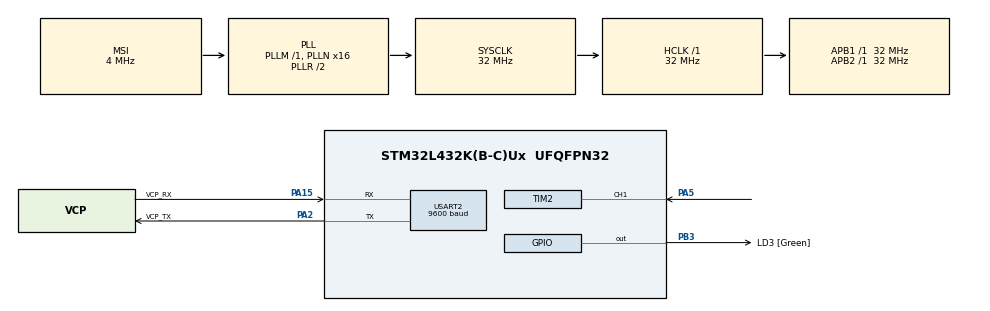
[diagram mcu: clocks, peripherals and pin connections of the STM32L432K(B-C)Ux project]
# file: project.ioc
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ADC1.Channel-1\#ChannelRegularConversion=ADC_CHANNEL_VREFINT
ADC1.Channel-2\#ChannelRegularConversion=ADC_CHANNEL_TEMPSENSOR
ADC1.Channel-3\#ChannelRegularConversion=ADC_CHANNEL_VBAT
ADC1.ClockPrescaler=ADC_CLOCK_ASYNC_DIV4
ADC1.ContinuousConvMode=ENABLE
ADC1.EOCSelection=ADC_EOC_SEQ_CONV
ADC1.NbrOfConversion=3
ADC1.NbrOfConversionFlag=1
ADC1.OffsetNumber-1\#ChannelRegularConversion=ADC_OFFSET_NONE
ADC1.OffsetNumber-2\#ChannelRegularConversion=ADC_OFFSET_NONE
ADC1.OffsetNumber-3\#ChannelRegularConversion=ADC_OFFSET_NONE
ADC1.Rank-1\#ChannelRegularConversion=1
ADC1.Rank-2\#ChannelRegularConversion=2
ADC1.Rank-3\#ChannelRegularConversion=3
ADC1.SamplingTime-1\#ChannelRegularConversion=ADC_SAMPLETIME_2CYCLES_5
ADC1.SamplingTime-2\#ChannelRegularConversion=ADC_SAMPLETIME_247CYCLES_5
ADC1.SamplingTime-3\#ChannelRegularConversion=ADC_SAMPLETIME_2CYCLES_5
ADC1.master=1
Dma.Request0=TIM2_CH1
Dma.TIM2_CH1.0.Direction=DMA_PERIPH_TO_MEMORY
Dma.TIM2_CH1.0.Instance=DMA1_Channel5
Dma.TIM2_CH1.0.MemDataAlignment=DMA_MDATAALIGN_WORD
Dma.TIM2_CH1.0.MemInc=DMA_MINC_ENABLE
Dma.TIM2_CH1.0.Mode=DMA_NORMAL
Dma.TIM2_CH1.0.PeriphDataAlignment=DMA_PDATAALIGN_WORD
Dma.TIM2_CH1.0.PeriphInc=DMA_PINC_DISABLE
Dma.TIM2_CH1.0.Priority=DMA_PRIORITY_LOW
Mcu.Family=STM32L4
Mcu.Name=STM32L432K(B-C)Ux
Mcu.Package=UFQFPN32
NVIC.DMA1_Channel5_IRQn=true\:0\:0\:false\:false\:true\:false\:true
NVIC.PriorityGroup=NVIC_PRIORITYGROUP_4
NVIC.RTC_Alarm_IRQn=true\:0\:0\:false\:false\:true\:true\:true
NVIC.USART2_IRQn=true\:0\:0\:false\:false\:true\:true\:true
PA0.GPIO_Label=MCO [High speed clock in]
PA0.Mode=HSE-External-Clock-Source-for-LittleOrca
PA0.Signal=RCC_CK_IN
PA13\ (JTMS-SWDIO).GPIO_Label=SWDIO
PA13\ (JTMS-SWDIO).Mode=Serial_Wire
PA13\ (JTMS-SWDIO).Signal=SYS_JTMS-SWDIO
PA14\ (JTCK-SWCLK).GPIO_Label=SWCLK
PA14\ (JTCK-SWCLK).Mode=Serial_Wire
PA14\ (JTCK-SWCLK).Signal=SYS_JTCK-SWCLK
PA15\ (JTDI).GPIO_Label=VCP_RX
PA15\ (JTDI).Mode=Asynchronous
PA15\ (JTDI).Signal=USART2_RX
PA2.GPIO_Label=VCP_TX
PA2.Mode=Asynchronous
PA2.Signal=USART2_TX
PA5.Signal=S_TIM2_CH1
PB3\ (JTDO-TRACESWO).GPIO_Label=LD3 [Green]
PB3\ (JTDO-TRACESWO).Signal=GPIO_Output
PC14-OSC32_IN\ (PC14).Mode=LSE-External-Oscillator
PC14-OSC32_IN\ (PC14).Signal=RCC_OSC32_IN
PC15-OSC32_OUT\ (PC15).Mode=LSE-External-Oscillator
PC15-OSC32_OUT\ (PC15).Signal=RCC_OSC32_OUT
ProjectManager.HeapSize=0x200
ProjectManager.StackSize=0x400
ProjectManager.TargetToolchain=Makefile
RCC.ADCFreq_Value=32000000
RCC.AHBFreq_Value=32000000
RCC.APB1Freq_Value=32000000
RCC.APB1TimFreq_Value=32000000
RCC.APB2Freq_Value=32000000
RCC.APB2TimFreq_Value=32000000
RCC.CortexFreq_Value=32000000
RCC.HCLKFreq_Value=32000000
RCC.HSE_VALUE=8000000
RCC.HSI16_VALUE=16000000
RCC.HSI48_VALUE=48000000
RCC.HSI_VALUE=16000000
RCC.MSI_VALUE=4000000
RCC.PLLMUL=RCC_PLLMUL_4
RCC.PLLN=16
RCC.PLLSAI1N=16
RCC.SYSCLKFreq_VALUE=32000000
RCC.SYSCLKSource=RCC_SYSCLKSOURCE_PLLCLK
RCC.USBFreq_Value=32000000
RCC.VCOOutputFreq_Value=64000000
RTC.Alarm=RTC_ALARM_A
RTC.AlarmMaskDateWeekDay=RTC_ALARMMASK_DATEWEEKDAY
RTC.AlarmMaskHours=RTC_ALARMMASK_HOURS
RTC.AlarmMaskMinutes=RTC_ALARMMASK_MINUTES
RTC.Seconds_A=30
SH.S_TIM2_CH1.0=TIM2_CH1,Input_Capture1_from_TI1
TIM2.Channel-Input_Capture1_from_TI1=TIM_CHANNEL_1
TIM2.Period=65535
USART2.BaudRate=9600
USART2.VirtualMode-Asynchronous=VM_ASYNC
VP_ADC1_TempSens_Input.Mode=IN-TempSens
VP_ADC1_Vbat_Input.Mode=IN-Vbat
VP_ADC1_Vref_Input.Mode=IN-Vrefint
VP_RTC_VS_RTC_Activate.Mode=RTC_Enabled
VP_RTC_VS_RTC_Alarm_A_Intern.Mode=Alarm A
VP_RTC_VS_RTC_Calendar.Mode=RTC_Calendar
board=NUCLEO-L432KC

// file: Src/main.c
/* USER CODE BEGIN Header */
/**
  ******************************************************************************
  * @file           : main.c
  * @brief          : Main program body
  ******************************************************************************
  * @attention
  *
  * <h2><center>&copy; Copyright (c) 2020 STMicroelectronics.
  * All rights reserved.</center></h2>
  *
  * This software component is licensed by ST under BSD 3-Clause license,
  * the "License"; You may not use this file except in compliance with the
  * License. You may obtain a copy of the License at:
  *                        opensource.org/licenses/BSD-3-Clause
  *
  ******************************************************************************
  */
/* USER CODE END Header */

#include "main.h"

/* USER CODE BEGIN Includes */
#include <stdio.h>
#include "retarget.h"
#include <string.h>
#include <stdlib.h>
#include "stm32l4xx_ll_usart.h"
#include "command.h"
#include "buffer.h"
#include "rtc.h"
#include "sensor.h"
#include "log.h"
/* USER CODE END Includes */

ADC_HandleTypeDef hadc1;
RTC_HandleTypeDef hrtc;
TIM_HandleTypeDef htim2;
DMA_HandleTypeDef hdma_tim2_ch1;
UART_HandleTypeDef huart2;

void SystemClock_Config(void);
static void MX_GPIO_Init(void);
static void MX_USART2_UART_Init(void);
static void MX_RTC_Init(void);
static void MX_ADC1_Init(void);
static void MX_DMA_Init(void);
static void MX_TIM2_Init(void);

int main(void)
{

  /* MCU Configuration--------------------------------------------------------*/

  /* Reset of all peripherals, Initializes the Flash interface and the Systick. */
  HAL_Init();

  /* Configure the system clock */
  SystemClock_Config();

  /* Initialize all configured peripherals */
  MX_GPIO_Init();
  MX_USART2_UART_Init();
  MX_RTC_Init();
  MX_ADC1_Init();
  MX_DMA_Init();
  MX_TIM2_Init();
  /* USER CODE BEGIN 2 */
  RetargetInit(&huart2);
  //sends local RTC handler variable to rtc.c file scope
  RetargetRTC(&hrtc);

  // if necessary to erase flash, uncomment
  //flash_erase();

  if(flash_write_init()) {
    printf("Flash initialization failed\r\n");
    while(1);
  }
  //calibrates ADC
  while (HAL_ADCEx_Calibration_Start(&hadc1,ADC_SINGLE_ENDED) != HAL_OK);

  log_entry("start");
  printf("Welcome to Nucleo\r\n");
  printf("Type 'help' to see available commands\r\n");

  HAL_GPIO_WritePin(LD3_GPIO_Port, LD3_Pin, GPIO_PIN_RESET);

  terminal_line();
  /* USER CODE END 2 */

  /* Infinite loop */
  while (1)
  {

    /* USER CODE BEGIN 3 */
    buf_process();
    alarm_process();
  }
  /* USER CODE END 3 */
}

void SystemClock_Config(void)
{
  RCC_OscInitTypeDef RCC_OscInitStruct = {0};
  RCC_ClkInitTypeDef RCC_ClkInitStruct = {0};
  RCC_PeriphCLKInitTypeDef PeriphClkInit = {0};

  /** Configure LSE Drive Capability
  */
  HAL_PWR_EnableBkUpAccess();
  __HAL_RCC_LSEDRIVE_CONFIG(RCC_LSEDRIVE_LOW);
  /** Initializes the CPU, AHB and APB busses clocks
  */
  RCC_OscInitStruct.OscillatorType = RCC_OSCILLATORTYPE_LSI|RCC_OSCILLATORTYPE_LSE
                              |RCC_OSCILLATORTYPE_MSI;
  RCC_OscInitStruct.LSEState = RCC_LSE_ON;
  RCC_OscInitStruct.LSIState = RCC_LSI_ON;
  RCC_OscInitStruct.MSIState = RCC_MSI_ON;
  RCC_OscInitStruct.MSICalibrationValue = 0;
  RCC_OscInitStruct.MSIClockRange = RCC_MSIRANGE_6;
  RCC_OscInitStruct.PLL.PLLState = RCC_PLL_ON;
  RCC_OscInitStruct.PLL.PLLSource = RCC_PLLSOURCE_MSI;
  RCC_OscInitStruct.PLL.PLLM = 1;
  RCC_OscInitStruct.PLL.PLLN = 16;
  RCC_OscInitStruct.PLL.PLLP = RCC_PLLP_DIV7;
  RCC_OscInitStruct.PLL.PLLQ = RCC_PLLQ_DIV2;
  RCC_OscInitStruct.PLL.PLLR = RCC_PLLR_DIV2;
  if (HAL_RCC_OscConfig(&RCC_OscInitStruct) != HAL_OK)
  {
    Error_Handler();
  }
  /** Initializes the CPU, AHB and APB busses clocks
  */
  RCC_ClkInitStruct.ClockType = RCC_CLOCKTYPE_HCLK|RCC_CLOCKTYPE_SYSCLK
                              |RCC_CLOCKTYPE_PCLK1|RCC_CLOCKTYPE_PCLK2;
  RCC_ClkInitStruct.SYSCLKSource = RCC_SYSCLKSOURCE_PLLCLK;
  RCC_ClkInitStruct.AHBCLKDivider = RCC_SYSCLK_DIV1;
  RCC_ClkInitStruct.APB1CLKDivider = RCC_HCLK_DIV1;
  RCC_ClkInitStruct.APB2CLKDivider = RCC_HCLK_DIV1;

  if (HAL_RCC_ClockConfig(&RCC_ClkInitStruct, FLASH_LATENCY_1) != HAL_OK)
  {
    Error_Handler();
  }
  PeriphClkInit.PeriphClockSelection = RCC_PERIPHCLK_RTC|RCC_PERIPHCLK_USART2
                              |RCC_PERIPHCLK_ADC;
  PeriphClkInit.Usart2ClockSelection = RCC_USART2CLKSOURCE_PCLK1;
  PeriphClkInit.AdcClockSelection = RCC_ADCCLKSOURCE_PLLSAI1;
  PeriphClkInit.RTCClockSelection = RCC_RTCCLKSOURCE_LSI;
  PeriphClkInit.PLLSAI1.PLLSAI1Source = RCC_PLLSOURCE_MSI;
  PeriphClkInit.PLLSAI1.PLLSAI1M = 1;
  PeriphClkInit.PLLSAI1.PLLSAI1N = 16;
  PeriphClkInit.PLLSAI1.PLLSAI1P = RCC_PLLP_DIV7;
  PeriphClkInit.PLLSAI1.PLLSAI1Q = RCC_PLLQ_DIV2;
  PeriphClkInit.PLLSAI1.PLLSAI1R = RCC_PLLR_DIV2;
  PeriphClkInit.PLLSAI1.PLLSAI1ClockOut = RCC_PLLSAI1_ADC1CLK;
  if (HAL_RCCEx_PeriphCLKConfig(&PeriphClkInit) != HAL_OK)
  {
    Error_Handler();
  }
  /** Configure the main internal regulator output voltage
  */
  if (HAL_PWREx_ControlVoltageScaling(PWR_REGULATOR_VOLTAGE_SCALE1) != HAL_OK)
  {
    Error_Handler();
  }
  /** Enable MSI Auto calibration
  */
  HAL_RCCEx_EnableMSIPLLMode();
}

static void MX_ADC1_Init(void)
{

  ADC_ChannelConfTypeDef sConfig = {0};

  /** Common config
  */
  hadc1.Instance = ADC1;
  hadc1.Init.ClockPrescaler = ADC_CLOCK_ASYNC_DIV4;
  hadc1.Init.Resolution = ADC_RESOLUTION_12B;
  hadc1.Init.DataAlign = ADC_DATAALIGN_RIGHT;
  hadc1.Init.ScanConvMode = ADC_SCAN_ENABLE;
  hadc1.Init.EOCSelection = ADC_EOC_SEQ_CONV;
  hadc1.Init.LowPowerAutoWait = DISABLE;
  hadc1.Init.ContinuousConvMode = ENABLE;
  hadc1.Init.NbrOfConversion = 3;
  hadc1.Init.DiscontinuousConvMode = DISABLE;
  hadc1.Init.ExternalTrigConv = ADC_SOFTWARE_START;
  hadc1.Init.ExternalTrigConvEdge = ADC_EXTERNALTRIGCONVEDGE_NONE;
  hadc1.Init.DMAContinuousRequests = DISABLE;
  hadc1.Init.Overrun = ADC_OVR_DATA_PRESERVED;
  hadc1.Init.OversamplingMode = DISABLE;
  if (HAL_ADC_Init(&hadc1) != HAL_OK)
  {
    Error_Handler();
  }
  /** Configure Regular Channel
  */
  sConfig.Channel = ADC_CHANNEL_VREFINT;
  sConfig.Rank = ADC_REGULAR_RANK_1;
  sConfig.SamplingTime = ADC_SAMPLETIME_2CYCLES_5;
  sConfig.SingleDiff = ADC_SINGLE_ENDED;
  sConfig.OffsetNumber = ADC_OFFSET_NONE;
  sConfig.Offset = 0;
  if (HAL_ADC_ConfigChannel(&hadc1, &sConfig) != HAL_OK)
  {
    Error_Handler();
  }
  /** Configure Regular Channel
  */
  sConfig.Channel = ADC_CHANNEL_TEMPSENSOR;
  sConfig.Rank = ADC_REGULAR_RANK_2;
  sConfig.SamplingTime = ADC_SAMPLETIME_247CYCLES_5;
  if (HAL_ADC_ConfigChannel(&hadc1, &sConfig) != HAL_OK)
  {
    Error_Handler();
  }
  /** Configure Regular Channel
  */
  sConfig.Channel = ADC_CHANNEL_VBAT;
  sConfig.Rank = ADC_REGULAR_RANK_3;
  sConfig.SamplingTime = ADC_SAMPLETIME_2CYCLES_5;
  if (HAL_ADC_ConfigChannel(&hadc1, &sConfig) != HAL_OK)
  {
    Error_Handler();
  }

}

static void MX_RTC_Init(void)
{

  RTC_TimeTypeDef sTime = {0};
  RTC_DateTypeDef sDate = {0};
  RTC_AlarmTypeDef sAlarm = {0};

  /** Initialize RTC Only
  */
  hrtc.Instance = RTC;
  hrtc.Init.HourFormat = RTC_HOURFORMAT_24;
  hrtc.Init.AsynchPrediv = 127;
  hrtc.Init.SynchPrediv = 255;
  hrtc.Init.OutPut = RTC_OUTPUT_DISABLE;
  hrtc.Init.OutPutRemap = RTC_OUTPUT_REMAP_NONE;
  hrtc.Init.OutPutPolarity = RTC_OUTPUT_POLARITY_HIGH;
  hrtc.Init.OutPutType = RTC_OUTPUT_TYPE_OPENDRAIN;
  if (HAL_RTC_Init(&hrtc) != HAL_OK)
  {
    Error_Handler();
  }

  /** Initialize RTC and set the Time and Date
  */
  sTime.Hours = 0x0;
  sTime.Minutes = 0x0;
  sTime.Seconds = 0x0;
  sTime.DayLightSaving = RTC_DAYLIGHTSAVING_NONE;
  sTime.StoreOperation = RTC_STOREOPERATION_RESET;
  if (HAL_RTC_SetTime(&hrtc, &sTime, RTC_FORMAT_BCD) != HAL_OK)
  {
    Error_Handler();
  }
  sDate.WeekDay = RTC_WEEKDAY_MONDAY;
  sDate.Month = RTC_MONTH_JANUARY;
  sDate.Date = 0x1;
  sDate.Year = 0x0;

  if (HAL_RTC_SetDate(&hrtc, &sDate, RTC_FORMAT_BCD) != HAL_OK)
  {
    Error_Handler();
  }
  /** Enable the Alarm A
  */
  sAlarm.AlarmTime.Hours = 0x0;
  sAlarm.AlarmTime.Minutes = 0x0;
  sAlarm.AlarmTime.Seconds = 0x30;
  sAlarm.AlarmTime.SubSeconds = 0x0;
  sAlarm.AlarmTime.DayLightSaving = RTC_DAYLIGHTSAVING_NONE;
  sAlarm.AlarmTime.StoreOperation = RTC_STOREOPERATION_RESET;
  sAlarm.AlarmMask = RTC_ALARMMASK_DATEWEEKDAY|RTC_ALARMMASK_HOURS
                              |RTC_ALARMMASK_MINUTES;
  sAlarm.AlarmSubSecondMask = RTC_ALARMSUBSECONDMASK_ALL;
  sAlarm.AlarmDateWeekDaySel = RTC_ALARMDATEWEEKDAYSEL_DATE;
  sAlarm.AlarmDateWeekDay = 0x1;
  sAlarm.Alarm = RTC_ALARM_A;
  if (HAL_RTC_SetAlarm_IT(&hrtc, &sAlarm, RTC_FORMAT_BCD) != HAL_OK)
  {
    Error_Handler();
  }

}

static void MX_TIM2_Init(void)
{

  TIM_MasterConfigTypeDef sMasterConfig = {0};
  TIM_IC_InitTypeDef sConfigIC = {0};

  htim2.Instance = TIM2;
  htim2.Init.Prescaler = 0;
  htim2.Init.CounterMode = TIM_COUNTERMODE_UP;
  htim2.Init.Period = 65535;
  htim2.Init.ClockDivision = TIM_CLOCKDIVISION_DIV1;
  htim2.Init.AutoReloadPreload = TIM_AUTORELOAD_PRELOAD_DISABLE;
  if (HAL_TIM_IC_Init(&htim2) != HAL_OK)
  {
    Error_Handler();
  }
  sMasterConfig.MasterOutputTrigger = TIM_TRGO_RESET;
  sMasterConfig.MasterSlaveMode = TIM_MASTERSLAVEMODE_DISABLE;
  if (HAL_TIMEx_MasterConfigSynchronization(&htim2, &sMasterConfig) != HAL_OK)
  {
    Error_Handler();
  }
  sConfigIC.ICPolarity = TIM_INPUTCHANNELPOLARITY_RISING;
  sConfigIC.ICSelection = TIM_ICSELECTION_DIRECTTI;
  sConfigIC.ICPrescaler = TIM_ICPSC_DIV1;
  sConfigIC.ICFilter = 0;
  if (HAL_TIM_IC_ConfigChannel(&htim2, &sConfigIC, TIM_CHANNEL_1) != HAL_OK)
  {
    Error_Handler();
  }
  /* USER CODE BEGIN TIM2_Init 2 */
  HAL_TIM_Base_Start_IT(&htim2);
  /* USER CODE END TIM2_Init 2 */

}

static void MX_USART2_UART_Init(void)
{

  huart2.Instance = USART2;
  huart2.Init.BaudRate = 9600;
  huart2.Init.WordLength = UART_WORDLENGTH_8B;
  huart2.Init.StopBits = UART_STOPBITS_1;
  huart2.Init.Parity = UART_PARITY_NONE;
  huart2.Init.Mode = UART_MODE_TX_RX;
  huart2.Init.HwFlowCtl = UART_HWCONTROL_NONE;
  huart2.Init.OverSampling = UART_OVERSAMPLING_16;
  huart2.Init.OneBitSampling = UART_ONE_BIT_SAMPLE_DISABLE;
  huart2.AdvancedInit.AdvFeatureInit = UART_ADVFEATURE_NO_INIT;
  if (HAL_UART_Init(&huart2) != HAL_OK)
  {
    Error_Handler();
  }
  /* USER CODE BEGIN USART2_Init 2 */
  LL_USART_EnableIT_RXNE(USART2);

  /* USER CODE END USART2_Init 2 */

}

static void MX_DMA_Init(void)
{

  /* DMA controller clock enable */
  __HAL_RCC_DMA1_CLK_ENABLE();

  /* DMA interrupt init */
  /* DMA1_Channel5_IRQn interrupt configuration */
  HAL_NVIC_SetPriority(DMA1_Channel5_IRQn, 0, 0);
  HAL_NVIC_EnableIRQ(DMA1_Channel5_IRQn);

}

static void MX_GPIO_Init(void)
{
  GPIO_InitTypeDef GPIO_InitStruct = {0};

  /* GPIO Ports Clock Enable */
  __HAL_RCC_GPIOC_CLK_ENABLE();
  __HAL_RCC_GPIOA_CLK_ENABLE();
  __HAL_RCC_GPIOB_CLK_ENABLE();

  /*Configure GPIO pin Output Level */
  HAL_GPIO_WritePin(LD3_GPIO_Port, LD3_Pin, GPIO_PIN_RESET);

  /*Configure GPIO pin : LD3_Pin */
  GPIO_InitStruct.Pin = LD3_Pin;
  GPIO_InitStruct.Mode = GPIO_MODE_OUTPUT_PP;
  GPIO_InitStruct.Pull = GPIO_NOPULL;
  GPIO_InitStruct.Speed = GPIO_SPEED_FREQ_LOW;
  HAL_GPIO_Init(LD3_GPIO_Port, &GPIO_InitStruct);

}

void Error_Handler(void)
{
  /* USER CODE BEGIN Error_Handler_Debug */
  /* User can add his own implementation to report the HAL error return state */
  printf("NOK: (Error_Handler)\r\n");
  /* USER CODE END Error_Handler_Debug */
}

/************************ (C) COPYRIGHT STMicroelectronics *****END OF FILE****/
